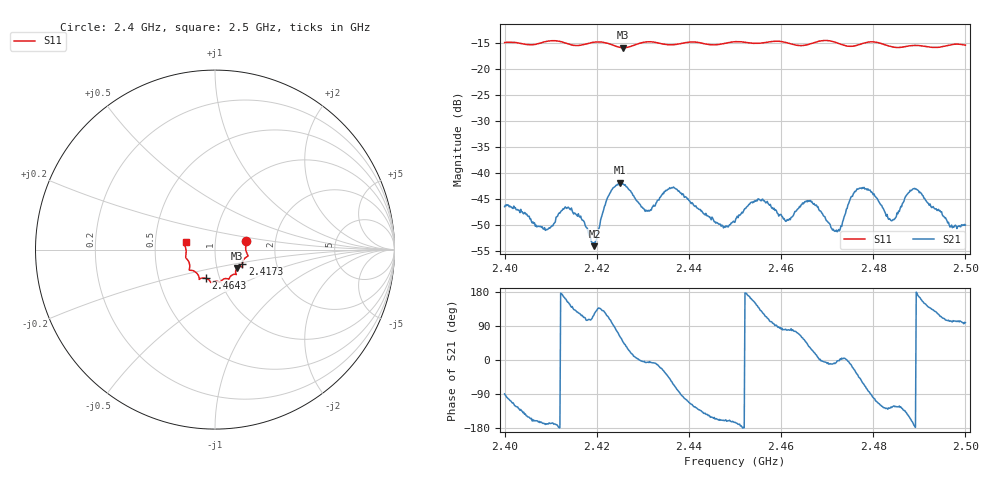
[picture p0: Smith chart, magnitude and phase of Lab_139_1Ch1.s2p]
# Hz S RI R 50
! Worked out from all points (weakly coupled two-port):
!   601 points, 2.4 GHz to 2.5 GHz, reference 50 ohm
!   highest |S21| = -41.88 dB at 2.425 GHz (marker M1); lowest = -54.2 dB at 2.4195 GHz (marker M2)
!   lowest |S11| = -15.9 dB at 2.4257 GHz (marker M3), VSWR 1.38, Z = 62.5 - j13.1 ohm
!   |S11| at or under -10 dB: start of sweep to end of sweep
!   S12 and S22 are empty: the file has one direction only
!   S11 on the Smith chart (normalised r, x): 2.4 GHz: 1.41, +0.14; 2.4173 GHz: 1.34, -0.23; 2.4643 GHz: 0.86, -0.28; 2.5 GHz: 0.72, +0.06
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2.4e9  0.1729 0.049  4e-05 -0.00471  0 0  0 0
2.408833e9  0.1811 -0.0276  -0.00275 -0.000476  0 0  0 0
2.413333e9  0.1714 -0.0432  -0.00431 0.00154  0 0  0 0
2.416667e9  0.1527 -0.0745  -0.00165 0.00321  0 0  0 0
2.417333e9  0.1519 -0.0819  -0.00126 0.00306  0 0  0 0
2.4195e9  0.1534 -0.0971  -0.00106 0.00165  0 0  0 0
2.4225e9  0.1488 -0.0942  -0.00238 0.00545  0 0  0 0
2.425e9  0.1285 -0.0982  0.00375 0.00713  0 0  0 0
2.425667e9  0.1231 -0.1023  0.0052 0.00581  0 0  0 0
2.4305e9  0.1183 -0.1379  0.00422 -0.000475  0 0  0 0
2.433333e9  0.1129 -0.1376  0.00529 -0.00136  0 0  0 0
2.436833e9  0.0879 -0.1476  0.00271 -0.00664  0 0  0 0
2.45e9  0.0288 -0.181  -0.00322 -0.000902  0 0  0 0
2.454833e9  0.00327 -0.1763  -0.00431 0.00319  0 0  0 0
2.461167e9  -0.0271 -0.1774  0.000662 0.00336  0 0  0 0
2.464333e9  -0.0499 -0.1604  0.00223 0.00434  0 0  0 0
2.466667e9  -0.0758 -0.1593  0.00473 0.00237  0 0  0 0
2.472167e9  -0.0886 -0.1548  0.0027 -0.000104  0 0  0 0
2.478e9  -0.1355 -0.1152  0.00311 -0.00653  0 0  0 0
2.483333e9  -0.1406 -0.0897  -0.00211 -0.00287  0 0  0 0
2.489e9  -0.1624 -0.0456  -0.00704 -0.000647  0 0  0 0
2.5e9  -0.1641 0.0426  -0.000475 0.0031  0 0  0 0
